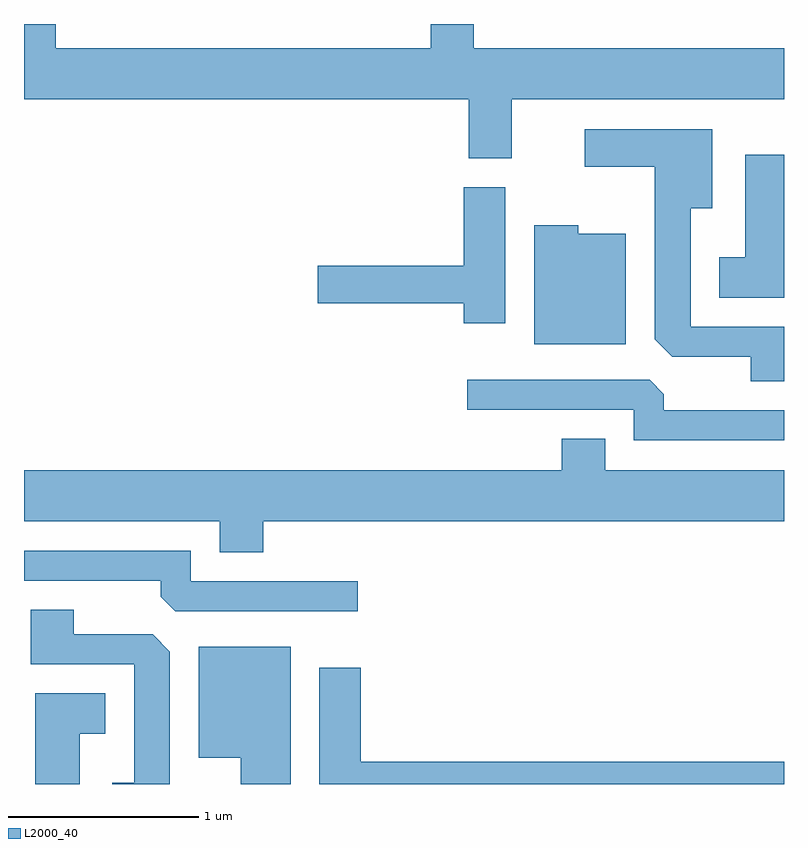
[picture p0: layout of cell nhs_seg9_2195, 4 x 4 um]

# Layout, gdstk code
import gdstk
lib = gdstk.Library(unit=1e-6, precision=1e-09)
def P(c, l, *ps):  # polygons
    for p in ps: c.add(gdstk.Polygon(p, *l))
L2000_40 = (2000, 40)

nhs_seg9_2195 = lib.new_cell('nhs_seg9_2195')
P(nhs_seg9_2195, L2000_40, [(252.179,1994.036),(253.611,1994.036),(253.611,1994.304),(251.979,1994.304),(251.979,1994.432),(251.751,1994.432),(251.751,1994.304),(249.779,1994.304),(249.779,1994.432),(249.611,1994.432),(249.611,1994.036),(251.951,1994.036),(251.951,1993.726),(252.179,1993.726)],
  [(253.611,1992.839),(253.119,1992.839),(253.119,1993.461),(253.234,1993.461),(253.234,1993.879),(252.561,1993.879),(252.561,1993.681),(252.931,1993.681),(252.931,1992.772),(253.022,1992.681),(253.436,1992.681),(253.436,1992.551),(253.611,1992.551)],
  [(253.611,1993.744),(253.406,1993.744),(253.406,1993.204),(253.271,1993.204),(253.271,1992.991),(253.611,1992.991)],
  [(252.144,1993.574),(251.926,1993.574),(251.926,1993.159),(251.156,1993.159),(251.156,1992.961),(251.926,1992.961),(251.926,1992.856),(252.144,1992.856)],
  [(252.779,1993.329),(252.529,1993.329),(252.529,1993.374),(252.296,1993.374),(252.296,1992.746),(252.779,1992.746)],
  [(253.611,1992.399),(252.979,1992.399),(252.979,1992.484),(252.904,1992.559),(251.943,1992.559),(251.943,1992.401),(252.821,1992.401),(252.821,1992.241),(253.611,1992.241)],
  [(250.869,1991.816),(253.611,1991.816),(253.611,1992.084),(252.669,1992.084),(252.669,1992.249),(252.441,1992.249),(252.441,1992.084),(249.611,1992.084),(249.611,1991.816),(250.641,1991.816),(250.641,1991.651),(250.869,1991.651)],
  [(251.368,1991.499),(250.489,1991.499),(250.489,1991.659),(249.611,1991.659),(249.611,1991.501),(250.331,1991.501),(250.331,1991.417),(250.407,1991.341),(251.368,1991.341)],
  [(250.379,1991.129),(250.289,1991.219),(249.874,1991.219),(249.874,1991.349),(249.646,1991.349),(249.646,1991.061),(250.191,1991.061),(250.191,1990.439),(250.076,1990.439),(250.076,1990.432),(250.379,1990.432)],
  [(251.014,1991.154),(250.531,1991.154),(250.531,1990.571),(250.751,1990.571),(250.751,1990.432),(251.014,1990.432)],
  [(253.611,1990.549),(251.384,1990.549),(251.384,1991.044),(251.166,1991.044),(251.166,1990.432),(253.611,1990.432)],
  [(249.904,1990.696),(250.039,1990.696),(250.039,1990.909),(249.671,1990.909),(249.671,1990.432),(249.904,1990.432)])

lib.write_gds('nhs_seg9_2195.gds')
